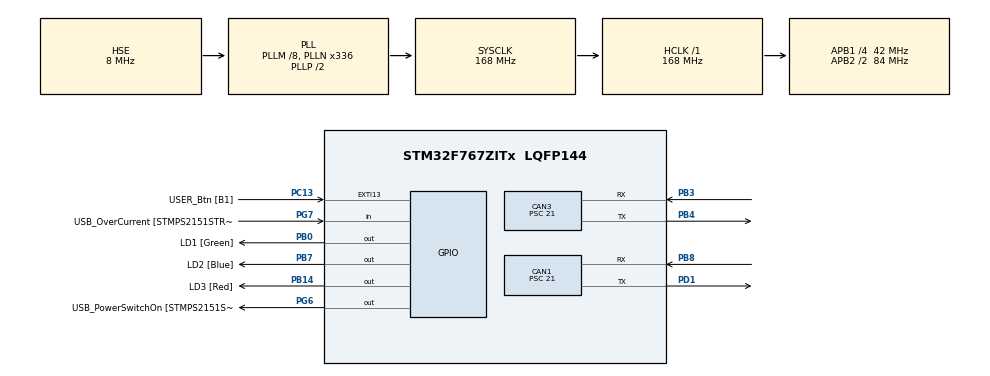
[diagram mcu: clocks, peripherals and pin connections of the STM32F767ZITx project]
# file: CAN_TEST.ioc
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CAN1.BS1=CAN_BS1_12TQ
CAN1.BS2=CAN_BS2_4TQ
CAN1.CalculateTimeQuantum=500.0
CAN1.Mode=CAN_MODE_NORMAL
CAN1.NART=ENABLE
CAN1.Prescaler=21
CAN1.SJW=CAN_SJW_1TQ
CAN3.BS1=CAN_BS1_12TQ
CAN3.BS2=CAN_BS2_4TQ
CAN3.CalculateTimeQuantum=500.0
CAN3.Prescaler=21
Mcu.Family=STM32F7
Mcu.Name=STM32F767ZITx
Mcu.Package=LQFP144
NVIC.CAN1_RX0_IRQn=true\:0\:0\:false\:false\:true\:true\:true
NVIC.CAN3_RX0_IRQn=true\:0\:0\:false\:false\:true\:true\:true
NVIC.PriorityGroup=NVIC_PRIORITYGROUP_4
PA1.GPIO_Label=RMII_REF_CLK [LAN8742A-CZ-TR_REFCLK0]
PA1.Signal=ETH_REF_CLK
PA10.GPIO_Label=USB_ID
PA10.Signal=USB_OTG_FS_ID
PA11.GPIO_Label=USB_DM
PA11.Signal=USB_OTG_FS_DM
PA12.GPIO_Label=USB_DP
PA12.Signal=USB_OTG_FS_DP
PA13.GPIO_Label=TMS
PA13.Mode=Serial_Wire
PA13.Signal=SYS_JTMS-SWDIO
PA14.GPIO_Label=TCK
PA14.Mode=Serial_Wire
PA14.Signal=SYS_JTCK-SWCLK
PA2.GPIO_Label=RMII_MDIO [LAN8742A-CZ-TR_MDIO]
PA2.Signal=ETH_MDIO
PA7.GPIO_Label=RMII_CRS_DV [LAN8742A-CZ-TR_CRS_DV]
PA7.Signal=ETH_CRS_DV
PA8.GPIO_Label=USB_SOF [TP1]
PA8.Signal=USB_OTG_FS_SOF
PA9.GPIO_Label=USB_VBUS
PA9.Signal=USB_OTG_FS_VBUS
PB0.GPIO_Label=LD1 [Green]
PB0.Signal=GPIO_Output
PB13.GPIO_Label=RMII_TXD1 [LAN8742A-CZ-TR_TXD1]
PB13.Signal=ETH_TXD1
PB14.GPIO_Label=LD3 [Red]
PB14.Signal=GPIO_Output
PB3.Mode=Master
PB3.Signal=CAN3_RX
PB4.Mode=Master
PB4.Signal=CAN3_TX
PB7.GPIO_Label=LD2 [Blue]
PB7.Signal=GPIO_Output
PB8.Mode=Master
PB8.Signal=CAN1_RX
PC1.GPIO_Label=RMII_MDC [LAN8742A-CZ-TR_MDC]
PC1.Signal=ETH_MDC
PC13.GPIO_Label=USER_Btn [B1]
PC13.Signal=GPXTI13
PC14/OSC32_IN.Mode=LSE-External-Oscillator
PC14/OSC32_IN.Signal=RCC_OSC32_IN
PC15/OSC32_OUT.Mode=LSE-External-Oscillator
PC15/OSC32_OUT.Signal=RCC_OSC32_OUT
PC4.GPIO_Label=RMII_RXD0 [LAN8742A-CZ-TR_RXD0]
PC4.Signal=ETH_RXD0
PC5.GPIO_Label=RMII_RXD1 [LAN8742A-CZ-TR_RXD1]
PC5.Signal=ETH_RXD1
PD1.Mode=Master
PD1.Signal=CAN1_TX
PD8.GPIO_Label=STLK_RX [STM32F103CBT6_PA3]
PD8.Signal=USART3_TX
PD9.GPIO_Label=STLK_TX [STM32F103CBT6_PA2]
PD9.Signal=USART3_RX
PG11.GPIO_Label=RMII_TX_EN [LAN8742A-CZ-TR_TXEN]
PG11.Signal=ETH_TX_EN
PG13.GPIO_Label=RMII_TXD0 [LAN8742A-CZ-TR_TXD0]
PG13.Signal=ETH_TXD0
PG6.GPIO_Label=USB_PowerSwitchOn [STMPS2151STR_EN]
PG6.Signal=GPIO_Output
PG7.GPIO_Label=USB_OverCurrent [STMPS2151STR_FAULT]
PG7.Signal=GPIO_Input
PH0/OSC_IN.GPIO_Label=MCO [STM32F103CBT6_PA8]
PH0/OSC_IN.Mode=HSE-External-Clock-Source
PH0/OSC_IN.Signal=RCC_OSC_IN
PH1/OSC_OUT.Mode=HSE-External-Clock-Source
PH1/OSC_OUT.Signal=RCC_OSC_OUT
ProjectManager.HeapSize=0x200
ProjectManager.StackSize=0x400
ProjectManager.TargetToolchain=STM32CubeIDE
RCC.48MHZClocksFreq_Value=24000000
RCC.AHBFreq_Value=168000000
RCC.APB1CLKDivider=RCC_HCLK_DIV4
RCC.APB1Freq_Value=42000000
RCC.APB1TimFreq_Value=84000000
RCC.APB2CLKDivider=RCC_HCLK_DIV2
RCC.APB2Freq_Value=84000000
RCC.APB2TimFreq_Value=168000000
RCC.CortexFreq_Value=168000000
RCC.HCLKFreq_Value=168000000
RCC.HSE_VALUE=8000000
RCC.HSI_VALUE=16000000
RCC.PLLM=8
RCC.PLLMUL=RCC_PLL_MUL9
RCC.PLLN=336
RCC.PLLQ=4
RCC.PLLSourceVirtual=RCC_PLLSOURCE_HSE
RCC.PRESCALERUSB=RCC_USBCLKSOURCE_PLL_DIV1_5
RCC.SYSCLKFreq_VALUE=168000000
RCC.SYSCLKSource=RCC_SYSCLKSOURCE_PLLCLK
RCC.SYSCLKSourceVirtual=RCC_SYSCLKSOURCE_PLLCLK
RCC.USBFreq_Value=84000000
RCC.VCOOutputFreq_Value=336000000
board=NUCLEO-F767ZI

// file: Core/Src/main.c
/* USER CODE BEGIN Header */
/**
  ******************************************************************************
  * @file           : main.c
  * @brief          : Main program body
  ******************************************************************************
  * @attention
  *
  * <h2><center>&copy; Copyright (c) 2020 STMicroelectronics.
  * All rights reserved.</center></h2>
  *
  * This software component is licensed by ST under BSD 3-Clause license,
  * the "License"; You may not use this file except in compliance with the
  * License. You may obtain a copy of the License at:
  *                        opensource.org/licenses/BSD-3-Clause
  *
  ******************************************************************************
  */
/* USER CODE END Header */
#include "main.h"

CAN_HandleTypeDef hcan1;
CAN_HandleTypeDef hcan3;

/* USER CODE BEGIN PV */

uint8_t ubKeyNumber = 0x0;
CAN_HandleTypeDef     hcan1;
CAN_TxHeaderTypeDef   TxHeader;
CAN_RxHeaderTypeDef   RxHeader;
uint8_t               TxData[8];
uint8_t               RxData[8];
uint32_t              TxMailbox;

/* USER CODE END PV */

void SystemClock_Config(void);
static void MX_GPIO_Init(void);
static void MX_CAN1_Init(void);
static void MX_CAN3_Init(void);
/* USER CODE BEGIN PFP */
static void LED_Display(int LedStatus);
/* USER CODE END PFP */

/* USER CODE BEGIN 0 */
//int ftx = 0x244;
//int frx = 0x245;

int ftx = 0x244;
int frx = 0x245;

/* USER CODE END 0 */

int main(void)
{

  /* MCU Configuration--------------------------------------------------------*/

  /* Reset of all peripherals, Initializes the Flash interface and the Systick. */
  HAL_Init();

  /* Configure the system clock */
  SystemClock_Config();

  /* Initialize all configured peripherals */
  MX_GPIO_Init();
  MX_CAN1_Init();
  MX_CAN3_Init();
  /* USER CODE BEGIN 2 */
  TxData[0] = ftx;
  TxData[1] = 0xAD;

  /* USER CODE END 2 */

  /* Infinite loop */
  /* USER CODE BEGIN WHILE */
  while (1)
    {

	  while (HAL_GPIO_ReadPin(USER_Btn_GPIO_Port, USER_Btn_Pin) == SET)
	      {
	        if (ubKeyNumber == 0x3)
	        {
	          ubKeyNumber = 0x00;
	        }
	        else
	        {
	          LED_Display(ubKeyNumber++);

	          /* Set the data to be transmitted */
	          TxData[0] = ubKeyNumber;
	          TxData[1] = 0xAD;

	          /* Start the Transmission process */
	          if (HAL_CAN_AddTxMessage(&hcan3, &TxHeader, TxData, &TxMailbox) != HAL_OK)
	          {
	            /* Transmission request Error */
	            Error_Handler();
	          }
	          HAL_Delay(500);

	          while (HAL_GPIO_ReadPin(USER_Btn_GPIO_Port, USER_Btn_Pin) != RESET)
	          {
	          }
	        }
	      }

    /* USER CODE END WHILE */

  }
}

void SystemClock_Config(void)
{
  RCC_OscInitTypeDef RCC_OscInitStruct = {0};
  RCC_ClkInitTypeDef RCC_ClkInitStruct = {0};

  /** Configure LSE Drive Capability
  */
  HAL_PWR_EnableBkUpAccess();
  /** Configure the main internal regulator output voltage
  */
  __HAL_RCC_PWR_CLK_ENABLE();
  __HAL_PWR_VOLTAGESCALING_CONFIG(PWR_REGULATOR_VOLTAGE_SCALE2);
  /** Initializes the RCC Oscillators according to the specified parameters
  * in the RCC_OscInitTypeDef structure.
  */
  RCC_OscInitStruct.OscillatorType = RCC_OSCILLATORTYPE_HSE;
  RCC_OscInitStruct.HSEState = RCC_HSE_BYPASS;
  RCC_OscInitStruct.PLL.PLLState = RCC_PLL_ON;
  RCC_OscInitStruct.PLL.PLLSource = RCC_PLLSOURCE_HSE;
  RCC_OscInitStruct.PLL.PLLM = 8;
  RCC_OscInitStruct.PLL.PLLN = 336;
  RCC_OscInitStruct.PLL.PLLP = RCC_PLLP_DIV2;
  RCC_OscInitStruct.PLL.PLLQ = 4;
  if (HAL_RCC_OscConfig(&RCC_OscInitStruct) != HAL_OK)
  {
    Error_Handler();
  }
  /** Initializes the CPU, AHB and APB buses clocks
  */
  RCC_ClkInitStruct.ClockType = RCC_CLOCKTYPE_HCLK|RCC_CLOCKTYPE_SYSCLK
                              |RCC_CLOCKTYPE_PCLK1|RCC_CLOCKTYPE_PCLK2;
  RCC_ClkInitStruct.SYSCLKSource = RCC_SYSCLKSOURCE_PLLCLK;
  RCC_ClkInitStruct.AHBCLKDivider = RCC_SYSCLK_DIV1;
  RCC_ClkInitStruct.APB1CLKDivider = RCC_HCLK_DIV4;
  RCC_ClkInitStruct.APB2CLKDivider = RCC_HCLK_DIV2;

  if (HAL_RCC_ClockConfig(&RCC_ClkInitStruct, FLASH_LATENCY_5) != HAL_OK)
  {
    Error_Handler();
  }
}

static void MX_CAN1_Init(void)
{

  hcan1.Instance = CAN1;
  hcan1.Init.Prescaler = 21;
  hcan1.Init.Mode = CAN_MODE_NORMAL;
  hcan1.Init.SyncJumpWidth = CAN_SJW_1TQ;
  hcan1.Init.TimeSeg1 = CAN_BS1_12TQ;
  hcan1.Init.TimeSeg2 = CAN_BS2_4TQ;
  hcan1.Init.TimeTriggeredMode = DISABLE;
  hcan1.Init.AutoBusOff = DISABLE;
  hcan1.Init.AutoWakeUp = DISABLE;
  hcan1.Init.AutoRetransmission = ENABLE;
  hcan1.Init.ReceiveFifoLocked = DISABLE;
  hcan1.Init.TransmitFifoPriority = DISABLE;
  if (HAL_CAN_Init(&hcan1) != HAL_OK)
  {
    Error_Handler();
  }
  /* USER CODE BEGIN CAN1_Init 2 */
  /*##-2- Configure the CAN Filter ###########################################*/
  CAN_FilterTypeDef  sFilterConfig;
    sFilterConfig.FilterBank = 0;
    sFilterConfig.FilterMode = CAN_FILTERMODE_IDMASK;
    sFilterConfig.FilterScale = CAN_FILTERSCALE_32BIT;
    sFilterConfig.FilterIdHigh = 0x0000;
    sFilterConfig.FilterIdLow = 0x0000;
    sFilterConfig.FilterMaskIdHigh = 0x0000;
    sFilterConfig.FilterMaskIdLow = 0x0000;
    sFilterConfig.FilterFIFOAssignment = CAN_RX_FIFO0;
    sFilterConfig.FilterActivation = ENABLE;
    sFilterConfig.SlaveStartFilterBank = 14;

    if (HAL_CAN_ConfigFilter(&hcan1, &sFilterConfig) != HAL_OK)
    {
      /* Filter configuration Error */
      Error_Handler();
    }

    /*##-3- Start the CAN peripheral ###########################################*/
    if (HAL_CAN_Start(&hcan1) != HAL_OK)
    {
      /* Start Error */
      Error_Handler();
    }

    /*##-4- Activate CAN RX notification #######################################*/
    if (HAL_CAN_ActivateNotification(&hcan1, CAN_IT_RX_FIFO0_MSG_PENDING) != HAL_OK)
    {
      /* Notification Error */
      Error_Handler();
    }

    /*##-5- Configure Transmission process #####################################*/
    TxHeader.StdId = ftx;
    TxHeader.ExtId = 0x01;
    TxHeader.RTR = CAN_RTR_DATA;
    TxHeader.IDE = CAN_ID_STD;
    TxHeader.DLC = 2;
    TxHeader.TransmitGlobalTime = DISABLE;
  /* USER CODE END CAN1_Init 2 */

}

static void MX_CAN3_Init(void)
{

  hcan3.Instance = CAN3;
  hcan3.Init.Prescaler = 21;
  hcan3.Init.Mode = CAN_MODE_NORMAL;
  hcan3.Init.SyncJumpWidth = CAN_SJW_1TQ;
  hcan3.Init.TimeSeg1 = CAN_BS1_12TQ;
  hcan3.Init.TimeSeg2 = CAN_BS2_4TQ;
  hcan3.Init.TimeTriggeredMode = DISABLE;
  hcan3.Init.AutoBusOff = DISABLE;
  hcan3.Init.AutoWakeUp = DISABLE;
  hcan3.Init.AutoRetransmission = DISABLE;
  hcan3.Init.ReceiveFifoLocked = DISABLE;
  hcan3.Init.TransmitFifoPriority = DISABLE;
  if (HAL_CAN_Init(&hcan3) != HAL_OK)
  {
    Error_Handler();
  }
  /* USER CODE BEGIN CAN3_Init 2 */
  /*##-2- Configure the CAN Filter ###########################################*/
  CAN_FilterTypeDef  sFilterConfig;
    sFilterConfig.FilterBank = 0;
    sFilterConfig.FilterMode = CAN_FILTERMODE_IDMASK;
    sFilterConfig.FilterScale = CAN_FILTERSCALE_32BIT;
    sFilterConfig.FilterIdHigh = 0x0000;
    sFilterConfig.FilterIdLow = 0x0000;
    sFilterConfig.FilterMaskIdHigh = 0x0000;
    sFilterConfig.FilterMaskIdLow = 0x0000;
    sFilterConfig.FilterFIFOAssignment = CAN_RX_FIFO0;
    sFilterConfig.FilterActivation = ENABLE;
    sFilterConfig.SlaveStartFilterBank = 14;

    if (HAL_CAN_ConfigFilter(&hcan3, &sFilterConfig) != HAL_OK)
    {
      /* Filter configuration Error */
      Error_Handler();
    }

    /*##-3- Start the CAN peripheral ###########################################*/
    if (HAL_CAN_Start(&hcan3) != HAL_OK)
    {
      /* Start Error */
      Error_Handler();
    }

    /*##-4- Activate CAN RX notification #######################################*/
    if (HAL_CAN_ActivateNotification(&hcan3, CAN_IT_RX_FIFO0_MSG_PENDING) != HAL_OK)
    {
      /* Notification Error */
      Error_Handler();
    }

    /*##-5- Configure Transmission process #####################################*/
    TxHeader.StdId = ftx;
    TxHeader.ExtId = 0x01;
    TxHeader.RTR = CAN_RTR_DATA;
    TxHeader.IDE = CAN_ID_STD;
    TxHeader.DLC = 2;
    TxHeader.TransmitGlobalTime = DISABLE;
  /* USER CODE END CAN3_Init 2 */

}

static void MX_GPIO_Init(void)
{
  GPIO_InitTypeDef GPIO_InitStruct = {0};

  /* GPIO Ports Clock Enable */
  __HAL_RCC_GPIOC_CLK_ENABLE();
  __HAL_RCC_GPIOH_CLK_ENABLE();
  __HAL_RCC_GPIOA_CLK_ENABLE();
  __HAL_RCC_GPIOB_CLK_ENABLE();
  __HAL_RCC_GPIOD_CLK_ENABLE();
  __HAL_RCC_GPIOG_CLK_ENABLE();

  /*Configure GPIO pin Output Level */
  HAL_GPIO_WritePin(GPIOB, LD1_Pin|LD3_Pin|LD2_Pin, GPIO_PIN_RESET);

  /*Configure GPIO pin Output Level */
  HAL_GPIO_WritePin(USB_PowerSwitchOn_GPIO_Port, USB_PowerSwitchOn_Pin, GPIO_PIN_RESET);

  /*Configure GPIO pin : USER_Btn_Pin */
  GPIO_InitStruct.Pin = USER_Btn_Pin;
  GPIO_InitStruct.Mode = GPIO_MODE_IT_RISING;
  GPIO_InitStruct.Pull = GPIO_NOPULL;
  HAL_GPIO_Init(USER_Btn_GPIO_Port, &GPIO_InitStruct);

  /*Configure GPIO pins : RMII_MDC_Pin RMII_RXD0_Pin RMII_RXD1_Pin */
  GPIO_InitStruct.Pin = RMII_MDC_Pin|RMII_RXD0_Pin|RMII_RXD1_Pin;
  GPIO_InitStruct.Mode = GPIO_MODE_AF_PP;
  GPIO_InitStruct.Pull = GPIO_NOPULL;
  GPIO_InitStruct.Speed = GPIO_SPEED_FREQ_VERY_HIGH;
  GPIO_InitStruct.Alternate = GPIO_AF11_ETH;
  HAL_GPIO_Init(GPIOC, &GPIO_InitStruct);

  /*Configure GPIO pins : RMII_REF_CLK_Pin RMII_MDIO_Pin RMII_CRS_DV_Pin */
  GPIO_InitStruct.Pin = RMII_REF_CLK_Pin|RMII_MDIO_Pin|RMII_CRS_DV_Pin;
  GPIO_InitStruct.Mode = GPIO_MODE_AF_PP;
  GPIO_InitStruct.Pull = GPIO_NOPULL;
  GPIO_InitStruct.Speed = GPIO_SPEED_FREQ_VERY_HIGH;
  GPIO_InitStruct.Alternate = GPIO_AF11_ETH;
  HAL_GPIO_Init(GPIOA, &GPIO_InitStruct);

  /*Configure GPIO pins : LD1_Pin LD3_Pin LD2_Pin */
  GPIO_InitStruct.Pin = LD1_Pin|LD3_Pin|LD2_Pin;
  GPIO_InitStruct.Mode = GPIO_MODE_OUTPUT_PP;
  GPIO_InitStruct.Pull = GPIO_NOPULL;
  GPIO_InitStruct.Speed = GPIO_SPEED_FREQ_LOW;
  HAL_GPIO_Init(GPIOB, &GPIO_InitStruct);

  /*Configure GPIO pin : RMII_TXD1_Pin */
  GPIO_InitStruct.Pin = RMII_TXD1_Pin;
  GPIO_InitStruct.Mode = GPIO_MODE_AF_PP;
  GPIO_InitStruct.Pull = GPIO_NOPULL;
  GPIO_InitStruct.Speed = GPIO_SPEED_FREQ_VERY_HIGH;
  GPIO_InitStruct.Alternate = GPIO_AF11_ETH;
  HAL_GPIO_Init(RMII_TXD1_GPIO_Port, &GPIO_InitStruct);

  /*Configure GPIO pins : STLK_RX_Pin STLK_TX_Pin */
  GPIO_InitStruct.Pin = STLK_RX_Pin|STLK_TX_Pin;
  GPIO_InitStruct.Mode = GPIO_MODE_AF_PP;
  GPIO_InitStruct.Pull = GPIO_NOPULL;
  GPIO_InitStruct.Speed = GPIO_SPEED_FREQ_VERY_HIGH;
  GPIO_InitStruct.Alternate = GPIO_AF7_USART3;
  HAL_GPIO_Init(GPIOD, &GPIO_InitStruct);

  /*Configure GPIO pin : USB_PowerSwitchOn_Pin */
  GPIO_InitStruct.Pin = USB_PowerSwitchOn_Pin;
  GPIO_InitStruct.Mode = GPIO_MODE_OUTPUT_PP;
  GPIO_InitStruct.Pull = GPIO_NOPULL;
  GPIO_InitStruct.Speed = GPIO_SPEED_FREQ_LOW;
  HAL_GPIO_Init(USB_PowerSwitchOn_GPIO_Port, &GPIO_InitStruct);

  /*Configure GPIO pin : USB_OverCurrent_Pin */
  GPIO_InitStruct.Pin = USB_OverCurrent_Pin;
  GPIO_InitStruct.Mode = GPIO_MODE_INPUT;
  GPIO_InitStruct.Pull = GPIO_NOPULL;
  HAL_GPIO_Init(USB_OverCurrent_GPIO_Port, &GPIO_InitStruct);

  /*Configure GPIO pins : USB_SOF_Pin USB_ID_Pin USB_DM_Pin USB_DP_Pin */
  GPIO_InitStruct.Pin = USB_SOF_Pin|USB_ID_Pin|USB_DM_Pin|USB_DP_Pin;
  GPIO_InitStruct.Mode = GPIO_MODE_AF_PP;
  GPIO_InitStruct.Pull = GPIO_NOPULL;
  GPIO_InitStruct.Speed = GPIO_SPEED_FREQ_VERY_HIGH;
  GPIO_InitStruct.Alternate = GPIO_AF10_OTG_FS;
  HAL_GPIO_Init(GPIOA, &GPIO_InitStruct);

  /*Configure GPIO pin : USB_VBUS_Pin */
  GPIO_InitStruct.Pin = USB_VBUS_Pin;
  GPIO_InitStruct.Mode = GPIO_MODE_INPUT;
  GPIO_InitStruct.Pull = GPIO_NOPULL;
  HAL_GPIO_Init(USB_VBUS_GPIO_Port, &GPIO_InitStruct);

  /*Configure GPIO pins : RMII_TX_EN_Pin RMII_TXD0_Pin */
  GPIO_InitStruct.Pin = RMII_TX_EN_Pin|RMII_TXD0_Pin;
  GPIO_InitStruct.Mode = GPIO_MODE_AF_PP;
  GPIO_InitStruct.Pull = GPIO_NOPULL;
  GPIO_InitStruct.Speed = GPIO_SPEED_FREQ_VERY_HIGH;
  GPIO_InitStruct.Alternate = GPIO_AF11_ETH;
  HAL_GPIO_Init(GPIOG, &GPIO_InitStruct);

}

/* USER CODE BEGIN 4 */

void HAL_CAN_RxFifo0MsgPendingCallback(CAN_HandleTypeDef *hcan)
{
  /* Get RX message */
  if (HAL_CAN_GetRxMessage(&hcan3, CAN_RX_FIFO0, &RxHeader, RxData) != HAL_OK)
  {
    /* Reception Error */
    Error_Handler();
  }

  /* Display LEDx */
  if ((RxHeader.StdId == frx) && (RxHeader.IDE == CAN_ID_STD) && (RxHeader.DLC == 2))
  {
    LED_Display(RxData[0]);
    ubKeyNumber = RxData[0];
  }
}

void LED_Display(int LedStatus)
{
  /* Turn OFF all LEDs */
  HAL_GPIO_WritePin(LD1_GPIO_Port, LD1_Pin, RESET);
  HAL_GPIO_WritePin(LD2_GPIO_Port, LD2_Pin, RESET);
  HAL_GPIO_WritePin(LD3_GPIO_Port, LD3_Pin, RESET);
  switch(LedStatus)
  {
    case (0):
      /* Turn ON LED1 */
		HAL_GPIO_WritePin(LD1_GPIO_Port, LD1_Pin, SET);
      break;

    case (1):
      /* Turn ON LED2 */
		  HAL_GPIO_WritePin(LD2_GPIO_Port, LD2_Pin, SET);
      break;

    case (2):
      /* Turn ON LED3 */
		HAL_GPIO_WritePin(LD3_GPIO_Port, LD3_Pin, SET);
      break;
    default:
      break;
  }
}
/* USER CODE END 4 */

void Error_Handler(void)
{
  /* USER CODE BEGIN Error_Handler_Debug */
  /* User can add his own implementation to report the HAL error return state */
	HAL_GPIO_WritePin(LD1_GPIO_Port, LD1_Pin, SET);
	HAL_GPIO_WritePin(LD2_GPIO_Port, LD2_Pin, SET);
	HAL_GPIO_WritePin(LD3_GPIO_Port, LD3_Pin, SET);

	HAL_Delay(500);

	__NVIC_SystemReset();
  /* USER CODE END Error_Handler_Debug */
}

/************************ (C) COPYRIGHT STMicroelectronics *****END OF FILE****/
